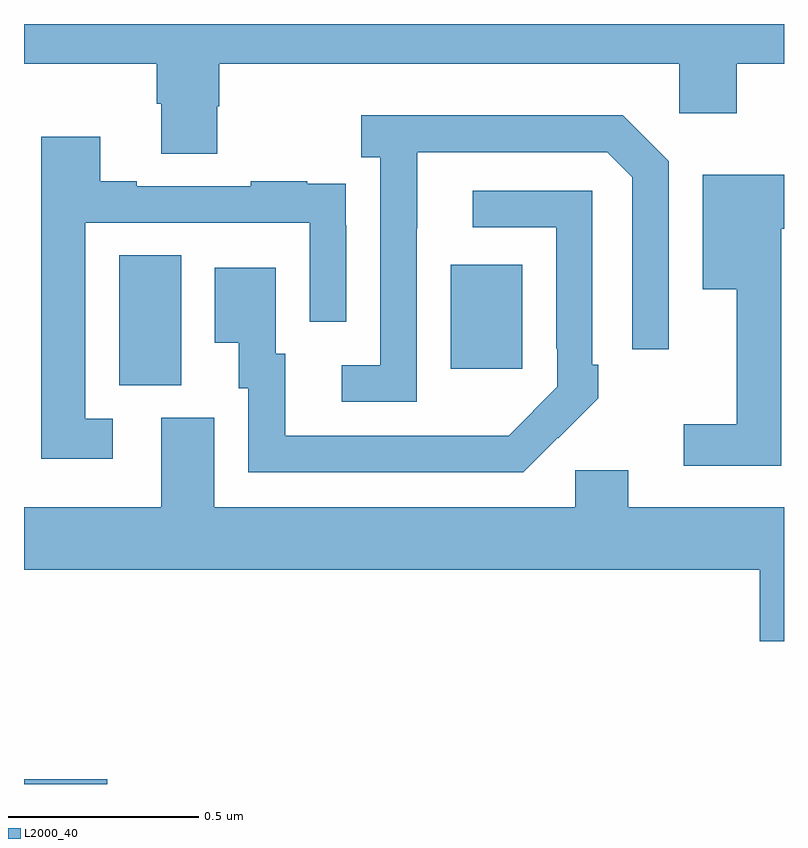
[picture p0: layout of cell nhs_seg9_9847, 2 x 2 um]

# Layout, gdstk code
import gdstk
lib = gdstk.Library(unit=1e-6, precision=1e-09)
def R(c, l, rs):  # rectangles x0, y0, x1, y1
    for r in rs: c.add(gdstk.rectangle(r[:2], r[2:], *l))
def P(c, l, *ps):  # polygons
    for p in ps: c.add(gdstk.Polygon(p, *l))
L2000_40 = (2000, 40)

nhs_seg9_9847 = lib.new_cell('nhs_seg9_9847')
R(nhs_seg9_9847, L2000_40, [(235,1218.5,235.219,1218.512), (235.25,1219.549,235.414,1219.892), (236.123,1219.593,236.311,1219.867)])
P(nhs_seg9_9847, L2000_40, [(235.509,1220.283),(235.514,1220.283),(235.514,1220.396),(236.724,1220.396),(236.724,1220.265),(236.876,1220.265),(236.876,1220.396),(237,1220.396),(237,1220.5),(235,1220.5),(235,1220.396),(235.349,1220.396),(235.349,1220.29),(235.361,1220.29),(235.361,1220.158),(235.509,1220.158)],
  [(236.034,1219.963),(236.035,1219.963),(236.035,1220.163),(236.535,1220.163),(236.601,1220.097),(236.601,1219.644),(236.697,1219.644),(236.697,1220.139),(236.576,1220.26),(235.887,1220.26),(235.887,1220.15),(235.938,1220.15),(235.938,1219.602),(235.836,1219.602),(235.836,1219.506),(236.034,1219.506)],
  [(235.234,1219.461),(235.161,1219.461),(235.161,1219.977),(235.752,1219.977),(235.752,1219.716),(235.848,1219.716),(235.848,1219.97),(235.847,1219.97),(235.847,1220.079),(235.745,1220.079),(235.745,1220.086),(235.597,1220.086),(235.597,1220.073),(235.297,1220.073),(235.297,1220.086),(235.201,1220.086),(235.201,1220.203),(235.045,1220.203),(235.045,1219.356),(235.234,1219.356)],
  [(236.993,1219.961),(237,1219.961),(237,1220.103),(236.786,1220.103),(236.786,1219.802),(236.876,1219.802),(236.876,1219.447),(236.736,1219.447),(236.736,1219.338),(236.993,1219.338)],
  [(236.405,1219.411),(236.406,1219.41),(236.511,1219.515),(236.511,1219.603),(236.496,1219.603),(236.496,1220.061),(236.181,1220.061),(236.181,1219.965),(236.4,1219.965),(236.4,1219.645),(236.403,1219.645),(236.403,1219.545),(236.275,1219.417),(236.171,1219.417),(236.171,1219.416),(235.687,1219.416),(235.687,1219.632),(235.663,1219.632),(235.663,1219.858),(235.502,1219.858),(235.502,1219.661),(235.565,1219.661),(235.565,1219.542),(235.59,1219.542),(235.59,1219.32),(236.314,1219.32)],
  [(237,1219.228),(236.59,1219.228),(236.59,1219.326),(236.451,1219.326),(236.451,1219.228),(235.501,1219.228),(235.501,1219.464),(235.361,1219.464),(235.361,1219.228),(235,1219.228),(235,1219.064),(236.936,1219.064),(236.936,1218.876),(237,1218.876)])

lib.write_gds('nhs_seg9_9847.gds')
